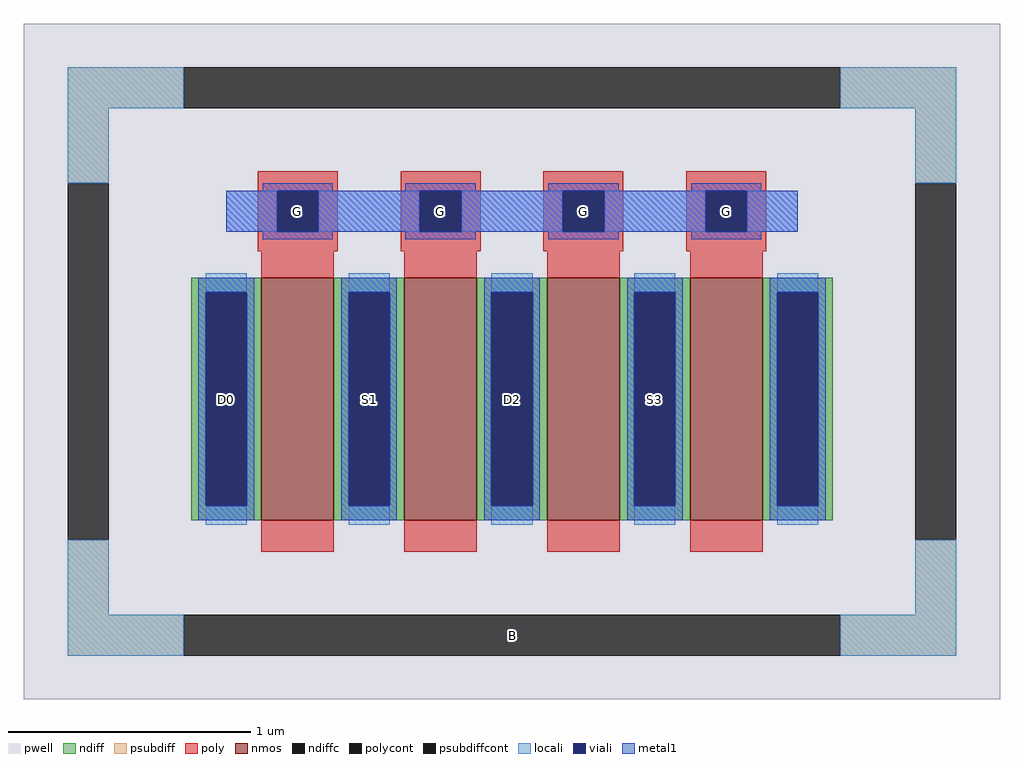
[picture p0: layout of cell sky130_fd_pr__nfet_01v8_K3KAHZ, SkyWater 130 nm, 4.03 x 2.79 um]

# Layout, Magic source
magic
tech sky130A
magscale 1 2
<< pwell >>
rect -403 -279 403 279
<< nmos >>
rect -207 -131 -147 69
rect -89 -131 -29 69
rect 29 -131 89 69
rect 147 -131 207 69
<< ndiff >>
rect -265 57 -207 69
rect -265 -119 -253 57
rect -219 -119 -207 57
rect -265 -131 -207 -119
rect -147 57 -89 69
rect -147 -119 -135 57
rect -101 -119 -89 57
rect -147 -131 -89 -119
rect -29 57 29 69
rect -29 -119 -17 57
rect 17 -119 29 57
rect -29 -131 29 -119
rect 89 57 147 69
rect 89 -119 101 57
rect 135 -119 147 57
rect 89 -131 147 -119
rect 207 57 265 69
rect 207 -119 219 57
rect 253 -119 265 57
rect 207 -131 265 -119
<< ndiffc >>
rect -253 -119 -219 57
rect -135 -119 -101 57
rect -17 -119 17 57
rect 101 -119 135 57
rect 219 -119 253 57
<< psubdiff >>
rect -367 209 -271 243
rect 271 209 367 243
rect -367 147 -333 209
rect 333 147 367 209
rect -367 -209 -333 -147
rect 333 -209 367 -147
rect -367 -243 -271 -209
rect 271 -243 367 -209
<< psubdiffcont >>
rect -271 209 271 243
rect -367 -147 -333 147
rect 333 -147 367 147
rect -271 -243 271 -209
<< poly >>
rect -210 141 -144 157
rect -210 107 -194 141
rect -160 107 -144 141
rect -210 91 -144 107
rect -92 141 -26 157
rect -92 107 -76 141
rect -42 107 -26 141
rect -92 91 -26 107
rect 26 141 92 157
rect 26 107 42 141
rect 76 107 92 141
rect 26 91 92 107
rect 144 141 210 157
rect 144 107 160 141
rect 194 107 210 141
rect 144 91 210 107
rect -207 69 -147 91
rect -89 69 -29 91
rect 29 69 89 91
rect 147 69 207 91
rect -207 -157 -147 -131
rect -89 -157 -29 -131
rect 29 -157 89 -131
rect 147 -157 207 -131
<< polycont >>
rect -194 107 -160 141
rect -76 107 -42 141
rect 42 107 76 141
rect 160 107 194 141
<< locali >>
rect -367 209 -271 243
rect 271 209 367 243
rect -367 147 -333 209
rect 333 147 367 209
rect -236 107 -194 141
rect -160 107 -76 141
rect -42 107 42 141
rect 76 107 160 141
rect 194 107 236 141
rect -253 57 -219 73
rect -253 -135 -219 -119
rect -135 57 -101 73
rect -135 -135 -101 -119
rect -17 57 17 73
rect -17 -135 17 -119
rect 101 57 135 73
rect 101 -135 135 -119
rect 219 57 253 73
rect 219 -135 253 -119
rect -367 -209 -333 -147
rect 333 -209 367 -147
rect -367 -243 -271 -209
rect 271 -243 367 -209
<< viali >>
rect -194 107 -160 141
rect -76 107 -42 141
rect 42 107 76 141
rect 160 107 194 141
rect -253 -119 -219 57
rect -135 -119 -101 57
rect -17 -119 17 57
rect 101 -119 135 57
rect 219 -119 253 57
<< metal1 >>
rect -206 141 -148 147
rect -88 141 -30 147
rect 30 141 88 147
rect 148 141 206 147
rect -236 107 -194 141
rect -160 107 -76 141
rect -42 107 42 141
rect 76 107 160 141
rect 194 107 236 141
rect -206 101 -148 107
rect -88 101 -30 107
rect 30 101 88 107
rect 148 101 206 107
rect -259 57 -213 69
rect -259 -119 -253 57
rect -219 -119 -213 57
rect -259 -131 -213 -119
rect -141 57 -95 69
rect -141 -119 -135 57
rect -101 -119 -95 57
rect -141 -131 -95 -119
rect -23 57 23 69
rect -23 -119 -17 57
rect 17 -119 23 57
rect -23 -131 23 -119
rect 95 57 141 69
rect 95 -119 101 57
rect 135 -119 141 57
rect 95 -131 141 -119
rect 213 57 259 69
rect 213 -119 219 57
rect 253 -119 259 57
rect 213 -131 259 -119
<< labels >>
rlabel psubdiffcont 0 -226 0 -226 0 B
port 1 nsew
rlabel ndiffc -236 -31 -236 -31 0 D0
port 2 nsew
rlabel polycont -177 124 -177 124 0 G
port 3 nsew
rlabel ndiffc -118 -31 -118 -31 0 S1
port 4 nsew
rlabel polycont -59 124 -59 124 0 G
port 3 nsew
rlabel ndiffc 0 -31 0 -31 0 D2
port 5 nsew
rlabel polycont 59 124 59 124 0 G
port 3 nsew
rlabel ndiffc 118 -31 118 -31 0 S3
port 6 nsew
rlabel polycont 177 124 177 124 0 G
port 3 nsew
<< properties >>
string FIXED_BBOX -350 -226 350 226
string gencell sky130_fd_pr__nfet_01v8
string library sky130
string parameters w 1 l 0.3 m 1 nf 4 diffcov 100 polycov 100 guard 1 glc 1 grc 1 gtc 1 gbc 1 tbcov 100 rlcov 100 topc 1 botc 0 poverlap 0 doverlap 1 lmin 0.15 wmin 0.42 class mosfet compatible {sky130_fd_pr__nfet_01v8 sky130_fd_pr__nfet_01v8_lvt  sky130_fd_bs_flash__special_sonosfet_star  sky130_fd_pr__nfet_g5v0d10v5 sky130_fd_pr__nfet_05v0_nvt  sky130_fd_pr__nfet_03v3_nvt} full_metal 1 conn_gates 1 viasrc 100 viadrn 100 viagate 100 viagb 0 viagr 0 viagl 0 viagt 0 doports 1
<< end >>
